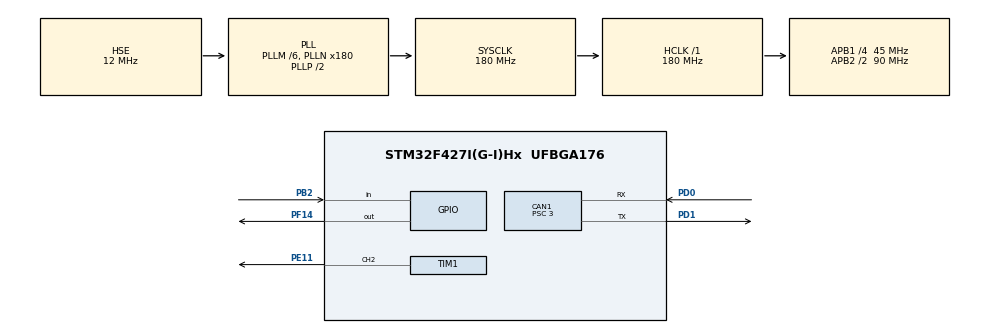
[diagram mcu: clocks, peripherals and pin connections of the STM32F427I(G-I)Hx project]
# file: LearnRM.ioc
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CAN1.BS1=CAN_BS1_10TQ
CAN1.BS2=CAN_BS2_4TQ
CAN1.CalculateBaudRate=1000000
CAN1.CalculateTimeBit=999
CAN1.CalculateTimeQuantum=66.66666666666666
CAN1.Prescaler=3
Mcu.Family=STM32F4
Mcu.Name=STM32F427I(G-I)Hx
Mcu.Package=UFBGA176
NVIC.CAN1_RX0_IRQn=true\:0\:0\:true\:false\:true\:true\:true\:true
NVIC.PriorityGroup=NVIC_PRIORITYGROUP_4
NVIC.TIM1_UP_TIM10_IRQn=true\:2\:0\:true\:false\:true\:true\:true\:true
NVIC.TIM6_DAC_IRQn=true\:1\:0\:true\:false\:true\:true\:true\:true
PA13.Mode=Serial_Wire
PA13.Signal=SYS_JTMS-SWDIO
PA14.Mode=Serial_Wire
PA14.Signal=SYS_JTCK-SWCLK
PB2/BOOT1.GPIO_PuPd=GPIO_PULLDOWN
PB2/BOOT1.Signal=GPIO_Input
PD0.GPIO_Mode=GPIO_MODE_AF_PP
PD0.Mode=CAN_Activate
PD0.Signal=CAN1_RX
PD1.Mode=CAN_Activate
PD1.Signal=CAN1_TX
PE11.Signal=S_TIM1_CH2
PF14.Signal=GPIO_Output
PH0/OSC_IN.Mode=HSE-External-Oscillator
PH0/OSC_IN.Signal=RCC_OSC_IN
PH1/OSC_OUT.Mode=HSE-External-Oscillator
PH1/OSC_OUT.Signal=RCC_OSC_OUT
ProjectManager.HeapSize=0x200
ProjectManager.StackSize=0x400
ProjectManager.TargetToolchain=MDK-ARM V5.32
RCC.48MHZClocksFreq_Value=90000000
RCC.AHBFreq_Value=180000000
RCC.APB1CLKDivider=RCC_HCLK_DIV4
RCC.APB1Freq_Value=45000000
RCC.APB1TimFreq_Value=90000000
RCC.APB2CLKDivider=RCC_HCLK_DIV2
RCC.APB2Freq_Value=90000000
RCC.APB2TimFreq_Value=180000000
RCC.CortexFreq_Value=180000000
RCC.HCLKFreq_Value=180000000
RCC.HSE_VALUE=12000000
RCC.HSI_VALUE=16000000
RCC.LSE_VALUE=32768
RCC.PLLM=6
RCC.PLLN=180
RCC.PLLSourceVirtual=RCC_PLLSOURCE_HSE
RCC.SYSCLKFreq_VALUE=180000000
RCC.SYSCLKSource=RCC_SYSCLKSOURCE_PLLCLK
RCC.VCOOutputFreq_Value=360000000
SH.S_TIM1_CH2.0=TIM1_CH2,PWM Generation2 CH2
TIM1.AutoReloadPreload=TIM_AUTORELOAD_PRELOAD_ENABLE
TIM1.Channel-PWM\ Generation2\ CH2=TIM_CHANNEL_2
TIM1.OCMode_PWM-PWM\ Generation2\ CH2=TIM_OCMODE_PWM2
TIM1.Period=1000-1
TIM1.Prescaler=180-1
TIM1.Pulse-PWM\ Generation2\ CH2=499
TIM6.AutoReloadPreload=TIM_AUTORELOAD_PRELOAD_ENABLE
TIM6.Period=1000 - 1
TIM6.Prescaler=180 - 1
VP_TIM1_VS_ClockSourceINT.Mode=Internal
VP_TIM6_VS_ClockSourceINT.Mode=Enable_Timer
board=custom

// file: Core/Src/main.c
/* USER CODE BEGIN Header */
/**
  ******************************************************************************
  * @file           : main.c
  * @brief          : Main program body
  ******************************************************************************
  * @attention
  *
  * Copyright (c) 2025 STMicroelectronics.
  * All rights reserved.
  *
  * This software is licensed under terms that can be found in the LICENSE file
  * in the root directory of this software component.
  * If no LICENSE file comes with this software, it is provided AS-IS.
  *
  ******************************************************************************
  */
/* USER CODE END Header */
#include "main.h"
#include "can.h"
#include "tim.h"
#include "gpio.h"

/* USER CODE BEGIN Includes */
#include <math.h>
/* USER CODE END Includes */

/* USER CODE BEGIN PV */

CAN_FilterTypeDef can_filter = {
    .FilterIdHigh = 0x0000,
    .FilterIdLow = 0x0000,
    .FilterMaskIdHigh = 0x0000,
    .FilterMaskIdLow = 0x0000,
    .FilterFIFOAssignment = CAN_FILTER_FIFO0,
    .FilterBank = 0,
    .FilterMode = CAN_FILTERMODE_IDMASK,
    .FilterScale = CAN_FILTERSCALE_32BIT,
    .FilterActivation = ENABLE,
};
/* USER CODE END PV */

void SystemClock_Config(void);

int main(void) {

    /* MCU Configuration--------------------------------------------------------*/

    /* Reset of all peripherals, Initializes the Flash interface and the Systick. */
    HAL_Init();

    /* Configure the system clock */
    SystemClock_Config();

    /* Initialize all configured peripherals */
    MX_GPIO_Init();
    MX_TIM1_Init();
    MX_CAN1_Init();
    MX_TIM6_Init();
    /* USER CODE BEGIN 2 */
    HAL_TIM_Base_Start_IT(&htim1);
    HAL_TIM_PWM_Start(&htim1, TIM_CHANNEL_2);
    HAL_TIM_Base_Start_IT(&htim6);
    HAL_CAN_Start(&hcan1);
    HAL_CAN_ActivateNotification(&hcan1, CAN_IT_RX_FIFO0_MSG_PENDING);
    HAL_CAN_ConfigFilter(&hcan1, &can_filter);
    /* USER CODE END 2 */

    /* Infinite loop */
    while (1) {

    }
}

void SystemClock_Config(void) {
    RCC_OscInitTypeDef RCC_OscInitStruct = { 0 };
    RCC_ClkInitTypeDef RCC_ClkInitStruct = { 0 };

    /** Configure the main internal regulator output voltage
    */
    __HAL_RCC_PWR_CLK_ENABLE();
    __HAL_PWR_VOLTAGESCALING_CONFIG(PWR_REGULATOR_VOLTAGE_SCALE1);

    /** Initializes the RCC Oscillators according to the specified parameters
    * in the RCC_OscInitTypeDef structure.
    */
    RCC_OscInitStruct.OscillatorType = RCC_OSCILLATORTYPE_HSE;
    RCC_OscInitStruct.HSEState = RCC_HSE_ON;
    RCC_OscInitStruct.PLL.PLLState = RCC_PLL_ON;
    RCC_OscInitStruct.PLL.PLLSource = RCC_PLLSOURCE_HSE;
    RCC_OscInitStruct.PLL.PLLM = 6;
    RCC_OscInitStruct.PLL.PLLN = 180;
    RCC_OscInitStruct.PLL.PLLP = RCC_PLLP_DIV2;
    RCC_OscInitStruct.PLL.PLLQ = 4;
    if (HAL_RCC_OscConfig(&RCC_OscInitStruct) != HAL_OK) {
        Error_Handler();
    }

    /** Activate the Over-Drive mode
    */
    if (HAL_PWREx_EnableOverDrive() != HAL_OK) {
        Error_Handler();
    }

    /** Initializes the CPU, AHB and APB buses clocks
    */
    RCC_ClkInitStruct.ClockType = RCC_CLOCKTYPE_HCLK | RCC_CLOCKTYPE_SYSCLK
        | RCC_CLOCKTYPE_PCLK1 | RCC_CLOCKTYPE_PCLK2;
    RCC_ClkInitStruct.SYSCLKSource = RCC_SYSCLKSOURCE_PLLCLK;
    RCC_ClkInitStruct.AHBCLKDivider = RCC_SYSCLK_DIV1;
    RCC_ClkInitStruct.APB1CLKDivider = RCC_HCLK_DIV4;
    RCC_ClkInitStruct.APB2CLKDivider = RCC_HCLK_DIV2;

    if (HAL_RCC_ClockConfig(&RCC_ClkInitStruct, FLASH_LATENCY_5) != HAL_OK) {
        Error_Handler();
    }
}

void Error_Handler(void) {
    __disable_irq();
    while (1) {}
}
